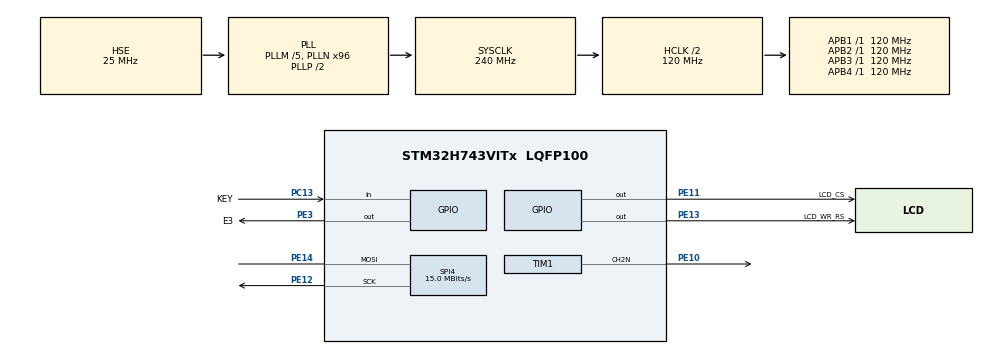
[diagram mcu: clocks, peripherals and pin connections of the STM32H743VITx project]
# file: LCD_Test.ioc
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Mcu.Family=STM32H7
Mcu.Name=STM32H743VITx
Mcu.Package=LQFP100
NVIC.PriorityGroup=NVIC_PRIORITYGROUP_4
PA13\ (JTMS/SWDIO).Mode=Serial_Wire
PA13\ (JTMS/SWDIO).Signal=DEBUG_JTMS-SWDIO
PA14\ (JTCK/SWCLK).Mode=Serial_Wire
PA14\ (JTCK/SWCLK).Signal=DEBUG_JTCK-SWCLK
PC13.GPIO_Label=KEY
PC13.GPIO_PuPd=GPIO_PULLDOWN
PC13.Signal=GPIO_Input
PC14-OSC32_IN\ (OSC32_IN).Mode=LSE-External-Oscillator
PC14-OSC32_IN\ (OSC32_IN).Signal=RCC_OSC32_IN
PC15-OSC32_OUT\ (OSC32_OUT).Mode=LSE-External-Oscillator
PC15-OSC32_OUT\ (OSC32_OUT).Signal=RCC_OSC32_OUT
PE10.Mode=PWM Generation2 CH2N
PE10.Signal=TIM1_CH2N
PE11.GPIO_Label=LCD_CS
PE11.GPIO_Speed=GPIO_SPEED_FREQ_VERY_HIGH
PE11.PinState=GPIO_PIN_SET
PE11.Signal=GPIO_Output
PE12.GPIO_Speed=GPIO_SPEED_FREQ_HIGH
PE12.Mode=Simplex_Bidirectional_Master
PE12.Signal=SPI4_SCK
PE13.GPIO_Label=LCD_WR_RS
PE13.GPIO_Speed=GPIO_SPEED_FREQ_VERY_HIGH
PE13.PinState=GPIO_PIN_SET
PE13.Signal=GPIO_Output
PE14.GPIO_Speed=GPIO_SPEED_FREQ_HIGH
PE14.Mode=Simplex_Bidirectional_Master
PE14.Signal=SPI4_MOSI
PE3.GPIO_Label=E3
PE3.PinState=GPIO_PIN_RESET
PE3.Signal=GPIO_Output
PH0-OSC_IN\ (PH0).Mode=HSE-External-Oscillator
PH0-OSC_IN\ (PH0).Signal=RCC_OSC_IN
PH1-OSC_OUT\ (PH1).Mode=HSE-External-Oscillator
PH1-OSC_OUT\ (PH1).Signal=RCC_OSC_OUT
ProjectManager.HeapSize=0x200
ProjectManager.StackSize=0x400
ProjectManager.TargetToolchain=STM32CubeIDE
RCC.ADCFreq_Value=83333333.33333333
RCC.APB1Freq_Value=120000000
RCC.APB2Freq_Value=120000000
RCC.APB3Freq_Value=120000000
RCC.APB4Freq_Value=120000000
RCC.CortexFreq_Value=240000000
RCC.DIVM1=5
RCC.DIVM2=6
RCC.DIVN1=96
RCC.DIVN2=40
RCC.DIVQ2=1
RCC.HCLKFreq_Value=120000000
RCC.HPRE=RCC_HCLK_DIV2
RCC.HSE_VALUE=25000000
RCC.PLLFRACN=0
RCC.PLLSourceVirtual=RCC_PLLSOURCE_HSE
RCC.PWR_Regulator_Voltage_Scale=PWR_REGULATOR_VOLTAGE_SCALE1
RCC.RTCClockSelection=RCC_RTCCLKSOURCE_LSE
RCC.SYSCLKFreq_VALUE=240000000
RCC.SYSCLKSource=RCC_SYSCLKSOURCE_PLLCLK
RCC.USBFreq_Value=240000000
SPI4.BaudRatePrescaler=SPI_BAUDRATEPRESCALER_8
SPI4.CalculateBaudRate=15.0 MBits/s
SPI4.DataSize=SPI_DATASIZE_8BIT
SPI4.Direction=SPI_DIRECTION_1LINE
SPI4.Mode=SPI_MODE_MASTER
SPI4.VirtualType=VM_MASTER
TIM1.Channel-PWM\ Generation2\ CH2N=TIM_CHANNEL_2
TIM1.OCNPolarity_2=TIM_OCNPOLARITY_LOW
TIM1.Period=1000-1
TIM1.Prescaler=12-1
VP_RTC_VS_RTC_Activate.Mode=RTC_Enabled
VP_RTC_VS_RTC_Calendar.Mode=RTC_Calendar
board=custom

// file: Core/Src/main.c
/* USER CODE BEGIN Header */
/**
  ******************************************************************************
  * @file           : main.c
  * @brief          : Main program body
  ******************************************************************************
  * @attention
  *
  * <h2><center>&copy; Copyright (c) 2020 STMicroelectronics.
  * All rights reserved.</center></h2>
  *
  * This software component is licensed by ST under BSD 3-Clause license,
  * the "License"; You may not use this file except in compliance with the
  * License. You may obtain a copy of the License at:
  *                        opensource.org/licenses/BSD-3-Clause
  *
  ******************************************************************************
  */
/* USER CODE END Header */
#include "main.h"
#include "rtc.h"
#include "spi.h"
#include "tim.h"
#include "gpio.h"
#include "math.h"
/* USER CODE BEGIN Includes */
#include "lcd.h"
/* USER CODE END Includes */

/* USER CODE BEGIN PD */
#define PI 3.1415926535897932384626433832795f
/* USER CODE END PD */

void SystemClock_Config(void);

/* USER CODE BEGIN 0 */
static void MPU_Config(void)
{
  MPU_Region_InitTypeDef MPU_InitStruct = {0};

  /* Disables the MPU */
  HAL_MPU_Disable();

	/* Configure the MPU attributes for the QSPI 256MB without instruction access */
  MPU_InitStruct.Enable           = MPU_REGION_ENABLE;
  MPU_InitStruct.Number           = MPU_REGION_NUMBER0;
  MPU_InitStruct.BaseAddress      = QSPI_BASE;
  MPU_InitStruct.Size             = MPU_REGION_SIZE_256MB;
  MPU_InitStruct.AccessPermission = MPU_REGION_NO_ACCESS;
  MPU_InitStruct.IsBufferable     = MPU_ACCESS_NOT_BUFFERABLE;
  MPU_InitStruct.IsCacheable      = MPU_ACCESS_NOT_CACHEABLE;
  MPU_InitStruct.IsShareable      = MPU_ACCESS_NOT_SHAREABLE;
  MPU_InitStruct.DisableExec      = MPU_INSTRUCTION_ACCESS_DISABLE;
  MPU_InitStruct.TypeExtField     = MPU_TEX_LEVEL1;
  MPU_InitStruct.SubRegionDisable = 0x00;
  HAL_MPU_ConfigRegion(&MPU_InitStruct);

  /* Configure the MPU attributes for the QSPI 8MB (QSPI Flash Size) to Cacheable WT */
  MPU_InitStruct.Enable           = MPU_REGION_ENABLE;
  MPU_InitStruct.Number           = MPU_REGION_NUMBER1;
  MPU_InitStruct.BaseAddress      = QSPI_BASE;
  MPU_InitStruct.Size             = MPU_REGION_SIZE_8MB;
  MPU_InitStruct.AccessPermission = MPU_REGION_PRIV_RO;
  MPU_InitStruct.IsBufferable     = MPU_ACCESS_BUFFERABLE;
  MPU_InitStruct.IsCacheable      = MPU_ACCESS_CACHEABLE;
  MPU_InitStruct.IsShareable      = MPU_ACCESS_NOT_SHAREABLE;
  MPU_InitStruct.DisableExec      = MPU_INSTRUCTION_ACCESS_ENABLE;
  MPU_InitStruct.TypeExtField     = MPU_TEX_LEVEL1;
  MPU_InitStruct.SubRegionDisable = 0x00;
  HAL_MPU_ConfigRegion(&MPU_InitStruct);

  /* Enables the MPU */
  HAL_MPU_Enable(MPU_PRIVILEGED_DEFAULT);
}

static void CPU_CACHE_Enable(void)
{
  /* Enable I-Cache */
  SCB_EnableICache();

  /* Enable D-Cache */
  SCB_EnableDCache();
}

static void LED_Blink(uint32_t Hdelay,uint32_t Ldelay)
{
	HAL_GPIO_WritePin(E3_GPIO_Port,E3_Pin,GPIO_PIN_SET);
	HAL_Delay(Hdelay - 1);
	HAL_GPIO_WritePin(E3_GPIO_Port,E3_Pin,GPIO_PIN_RESET);
	HAL_Delay(Ldelay-1);
}

/**
  * @brief  Get the current time and date.
  * @param
  * @retval None
  */
static void RTC_CalendarShow(RTC_DateTypeDef *sdatestructureget,RTC_TimeTypeDef *stimestructureget)
{
  /* ����ͬʱ��ȡʱ������� ��Ȼ�ᵼ���´�RTC���ܶ�ȡ */
  /* Both time and date must be obtained or RTC cannot be read next time */
  /* Get the RTC current Time */
  HAL_RTC_GetTime(&hrtc, stimestructureget, RTC_FORMAT_BIN);
  /* Get the RTC current Date */
  HAL_RTC_GetDate(&hrtc, sdatestructureget, RTC_FORMAT_BIN);
}

/* USER CODE END 0 */

int main(void)
{
  /* USER CODE BEGIN 1 */

  #ifdef W25Qxx
    SCB->VTOR = QSPI_BASE;
  #endif
  MPU_Config();
  CPU_CACHE_Enable();

  /* USER CODE END 1 */

  /* MCU Configuration--------------------------------------------------------*/

  /* Reset of all peripherals, Initializes the Flash interface and the Systick. */
  HAL_Init();

  /* Configure the system clock */
  SystemClock_Config();

  /* Initialize all configured peripherals */
  MX_GPIO_Init();
  MX_RTC_Init();
  MX_SPI4_Init();
  MX_TIM1_Init();
  /* USER CODE BEGIN 2 */
//	HAL_TIMEx_PWMN_Start(&htim1,TIM_CHANNEL_2);
//	__HAL_TIM_SetCompare(&htim1,TIM_CHANNEL_2,10);
	LCD_Test();
	HAL_Delay(500);
	ST7735_LCD_Driver.FillRect(&st7735_pObj, 0, 0, ST7735Ctx.Width,ST7735Ctx.Height, BLACK);
  /* USER CODE END 2 */

  /* Infinite loop */
  /* USER CODE BEGIN WHILE */
	uint8_t text[20];
	uint8_t sinHigh = 0;
	uint8_t sinWidth = 0;
	float sinVal = 70.0;
	float t = 0.0000;
	RTC_DateTypeDef sdatestructureget;
	RTC_TimeTypeDef stimestructureget;

  while (1)
  {
    /* USER CODE END WHILE */

    /* USER CODE BEGIN 3 */
		RTC_CalendarShow(&sdatestructureget, &stimestructureget);
//
//		if (stimestructureget.Seconds % 2 == 1)
//			sprintf((char *)&text,"Time: %02d:%02d", stimestructureget.Hours, stimestructureget.Minutes);
//		else
//			sprintf((char *)&text,"Time: %02d %02d", stimestructureget.Hours, stimestructureget.Minutes);
//		LCD_ShowString(4, 58, 160, 16, 16, text);

//		sprintf((char *)&text,"Tick: %ld ms", HAL_GetTick());
//		LCD_ShowString(4, 58, 160, 16, 16,text);

		sinHigh = (uint8_t)((sinVal + sinVal * sin(2*PI*t))/2.0);
		ST7735_LCD_Driver.DrawHLine(&st7735_pObj, sinWidth, sinHigh, 1, 0xFFFF);
		sinWidth++;
		if (sinWidth >= 160) {
			sinWidth = 0;
			ST7735_LCD_Driver.FillRect(&st7735_pObj, 0, 0, ST7735Ctx.Width,ST7735Ctx.Height, BLACK);
		}
		t += 0.02;
//		if (t > 1.0) {
//			t = 0.0;
//			ST7735_LCD_Driver.FillRect(&st7735_pObj, 0, 0, ST7735Ctx.Width,ST7735Ctx.Height, BLACK);
//		}
		HAL_Delay(100);
//		LED_Blink(3,500);

  }
  /* USER CODE END 3 */
}

void SystemClock_Config(void)
{
  RCC_OscInitTypeDef RCC_OscInitStruct = {0};
  RCC_ClkInitTypeDef RCC_ClkInitStruct = {0};

  /** Supply configuration update enable
  */
  HAL_PWREx_ConfigSupply(PWR_LDO_SUPPLY);
  /** Configure the main internal regulator output voltage
  */
  __HAL_PWR_VOLTAGESCALING_CONFIG(PWR_REGULATOR_VOLTAGE_SCALE0);

  while(!__HAL_PWR_GET_FLAG(PWR_FLAG_VOSRDY)) {}
  /** Configure LSE Drive Capability
  */
  HAL_PWR_EnableBkUpAccess();
  __HAL_RCC_LSEDRIVE_CONFIG(RCC_LSEDRIVE_LOW);
  /** Initializes the RCC Oscillators according to the specified parameters
  * in the RCC_OscInitTypeDef structure.
  */
  RCC_OscInitStruct.OscillatorType = RCC_OSCILLATORTYPE_HSE|RCC_OSCILLATORTYPE_LSE;
  RCC_OscInitStruct.HSEState = RCC_HSE_ON;
  RCC_OscInitStruct.LSEState = RCC_LSE_ON;
  RCC_OscInitStruct.PLL.PLLState = RCC_PLL_ON;
  RCC_OscInitStruct.PLL.PLLSource = RCC_PLLSOURCE_HSE;
  RCC_OscInitStruct.PLL.PLLM = 5;
  RCC_OscInitStruct.PLL.PLLN = 96;
  RCC_OscInitStruct.PLL.PLLP = 2;
  RCC_OscInitStruct.PLL.PLLQ = 2;
  RCC_OscInitStruct.PLL.PLLR = 2;
  RCC_OscInitStruct.PLL.PLLRGE = RCC_PLL1VCIRANGE_2;
  RCC_OscInitStruct.PLL.PLLVCOSEL = RCC_PLL1VCOWIDE;
  RCC_OscInitStruct.PLL.PLLFRACN = 0;
  if (HAL_RCC_OscConfig(&RCC_OscInitStruct) != HAL_OK)
  {
    Error_Handler();
  }
  /** Initializes the CPU, AHB and APB buses clocks
  */
  RCC_ClkInitStruct.ClockType = RCC_CLOCKTYPE_HCLK|RCC_CLOCKTYPE_SYSCLK
                              |RCC_CLOCKTYPE_PCLK1|RCC_CLOCKTYPE_PCLK2
                              |RCC_CLOCKTYPE_D3PCLK1|RCC_CLOCKTYPE_D1PCLK1;
  RCC_ClkInitStruct.SYSCLKSource = RCC_SYSCLKSOURCE_PLLCLK;
  RCC_ClkInitStruct.SYSCLKDivider = RCC_SYSCLK_DIV1;
  RCC_ClkInitStruct.AHBCLKDivider = RCC_HCLK_DIV2;
  RCC_ClkInitStruct.APB3CLKDivider = RCC_APB3_DIV1;
  RCC_ClkInitStruct.APB1CLKDivider = RCC_APB1_DIV1;
  RCC_ClkInitStruct.APB2CLKDivider = RCC_APB2_DIV1;
  RCC_ClkInitStruct.APB4CLKDivider = RCC_APB4_DIV1;

  if (HAL_RCC_ClockConfig(&RCC_ClkInitStruct, FLASH_LATENCY_1) != HAL_OK)
  {
    Error_Handler();
  }
}

void Error_Handler(void)
{
  /* USER CODE BEGIN Error_Handler_Debug */
  /* User can add his own implementation to report the HAL error return state */
  LED_Blink(500,500);
  /* USER CODE END Error_Handler_Debug */
}

/************************ (C) COPYRIGHT STMicroelectronics *****END OF FILE****/
